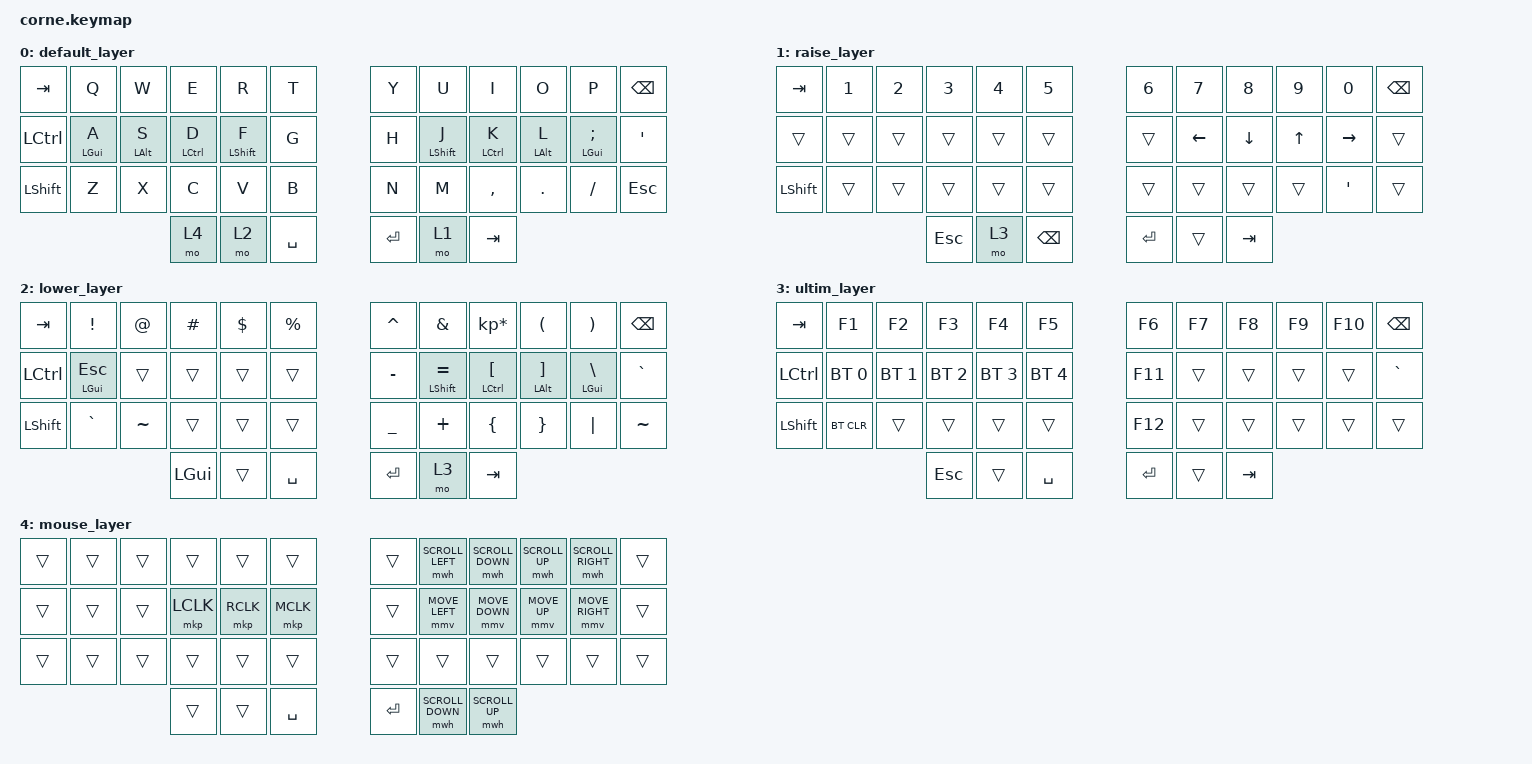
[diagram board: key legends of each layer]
/*
 * Copyright (c) 2020 The ZMK Contributors
 *
 * SPDX-License-Identifier: MIT
 */

#include <behaviors.dtsi>
#include <dt-bindings/zmk/keys.h>
#include <dt-bindings/zmk/bt.h>
#include <dt-bindings/zmk/mouse.h>

/ {
                behaviors {
                        bhm: balanced_homerow_mods {
                                compatible = "zmk,behavior-hold-tap";
                                label = "HOMEROW_MODS";
                                #binding-cells = <2>;
                                tapping-term-ms = <200>;    // <---[[moderate duration]]
                                quick-tap-ms = <0>;
                                flavor = "balanced";
                                bindings = <&kp>, <&kp>;
                        };
                };

        keymap {
                compatible = "zmk,keymap";

                default_layer {
// -----------------------------------------------------------------------------------------
// |  TAB |  Q  |  W  |  E  |  R  |  T  |   |  Y  |  U   |  I  |  O  |  P  | BKSP |
// | CTRL |  A  |  S  |  D  |  F  |  G  |   |  H  |  J   |  K  |  L  |  ;  |  '   |
// | SHFT |  Z  |  X  |  C  |  V  |  B  |   |  N  |  M   |  ,  |  .  |  /  | ESC  |
//                    | MOV | LWR | SPC |   | ENT | RSE  | TAB |
                        bindings = <
   &kp TAB   &kp Q       &kp W       &kp E        &kp R         &kp T  &kp Y &kp U          &kp I        &kp O       &kp P          &kp BSPC
   &kp LCTRL &bhm LGUI A &bhm LALT S &bhm LCTRL D &bhm LSHIFT F &kp G  &kp H &bhm LSHIFT J  &bhm LCTRL K &bhm LALT L &bhm LGUI SEMI &kp SQT
   &kp LSHFT &kp Z       &kp X       &kp C        &kp V         &kp B  &kp N &kp M          &kp COMMA    &kp DOT     &kp FSLH       &kp ESC
                  &mo 4 &mo 2 &kp SPACE   &kp RET &mo 1 &kp TAB
                        >;
                };
                raise_layer {
// -----------------------------------------------------------------------------------------
// |  TAB |  1  |  2  |  3  |  4  |  5  |   |  6  |  7  |  8  |  9  |  0  | BKSP |
// |      |     |     |     |     |     |   |     | LFT | DWN |  UP | RGT |      | 
// | SHFT |     |     |     |     |     |   |     |     |     |     |  '  |      |
//                    | ESC |     | BKSP|   | ENT | ULT | TAB |
                        bindings = <
   &kp TAB    &kp N1       &kp N2       &kp N3       &kp N4       &kp N5         &kp N6   &kp N7   &kp N8   &kp N9    &kp N0    &kp BSPC
   &trans     &trans       &trans       &trans       &trans       &trans         &trans   &kp LEFT &kp DOWN &kp UP    &kp RIGHT &trans
   &kp LSHFT  &trans       &trans       &trans       &trans       &trans         &trans   &trans   &trans &trans    &kp SQT &trans
                        &kp ESC     &mo 3        &kp BSPC       &kp RET  &trans   &kp TAB
                        >;
                };

                lower_layer {
// -----------------------------------------------------------------------------------------
// |  TAB |  !  |  @  |  #  |  $  |  %  |   |  ^  |  &  |  *  |  (  |  )  | BKSP |
// | CTRL | ESC |     |     |     |     |   |  -  |  =  |  [  |  ]  |  \  |  `   |
// | SHFT |  `  |  ~  |     |     |     |   |  _  |  +  |  {  |  }  | "|" |  ~   |
//                    | GUI | ULT | SPC |   | ENT |     | TAB |
                        bindings = <
   &kp  TAB  &kp EXCL      &kp AT    &kp HASH &kp DLLR &kp PRCNT   &kp CARET &kp AMPS          &kp KP_MULTIPLY  &kp LPAR        &kp RPAR      &kp BSPC
   &kp LCTRL &bhm LGUI ESC &trans    &trans   &trans   &trans      &kp MINUS &bhm LSHIFT EQUAL &bhm LCTRL LBKT  &bhm LALT RBKT &bhm LGUI BSLH &kp GRAVE
   &kp LSHFT &kp GRAVE     &kp TILDE &trans   &trans   &trans      &kp UNDER &kp PLUS          &kp LBRC         &kp RBRC       &kp PIPE       &kp TILDE
                    	&kp LGUI &trans   &kp SPACE    &kp RET   &mo 3    &kp TAB
                        >;
                };

                ultim_layer {
// -----------------------------------------------------------------------------------------
// |  TAB |  F1  |  F2  |  F3  |  F4  |  F5  |   |  F6  |  F7  |  F8  |  F9  |  F10  | BKSP |
// | CTRL |  BT1 |  BT2 |  BT3 |  BT4 |  BT5 |   |  F11 |      |      |      |       |      |
// | SHFT | BTCLR|      |      |      |      |   |  F12 |      |      |      |       |      |
//                      | ESC  |      |  SPC |   | ENT |     | TAB|
                        bindings = <
   &kp  TAB  &kp F1       &kp F2       &kp F3       &kp F4       &kp F5        &kp F6  &kp F7 &kp F8 &kp F9 &kp F10 &kp BSPC
   &kp LCTRL &bt BT_SEL 0 &bt BT_SEL 1 &bt BT_SEL 2 &bt BT_SEL 3 &bt BT_SEL 4  &kp F11 &trans &trans &trans &trans  &kp GRAVE
   &kp LSHFT &bt BT_CLR   &trans       &trans       &trans       &trans        &kp F12 &trans &trans &trans &trans  &trans
                    	&kp ESC &trans   &kp SPACE   &kp RET   &trans    &kp TAB
                        >;
                };

// Mouse Emulation - https://github.com/urob/zmk/blob/main-3.2/docs/docs/behaviors/mouse-emulation.md 
// Mouse Signals - https://github.com/urob/zmk/blob/main/app/include/dt-bindings/zmk/mouse.h 

                mouse_layer {
// -----------------------------------------------------------------------------------------
// |      |     |     |     |     |     |   |     | SCR_L | SCR_D | SCR_U | SCR_R |      |
// |      |     |     | M1  | M2  | M3  |   |     | LEFT  | DOWN  | UP    | RIGHT |      |
// |      |     |     |     |     |     |   |     |       |       |       |       |      |
//                    |     |     | SPC |   | ENT | SCR_D | SCR_U |
                        bindings = <
   &trans &trans &trans &trans    &trans    &trans    &trans &mwh SCROLL_LEFT &mwh SCROLL_DOWN &mwh SCROLL_UP &mwh SCROLL_RIGHT &trans 
   &trans &trans &trans &mkp LCLK &mkp RCLK &mkp MCLK &trans &mmv MOVE_LEFT   &mmv MOVE_DOWN   &mmv MOVE_UP   &mmv MOVE_RIGHT  &trans 
   &trans &trans &trans &trans    &trans    &trans    &trans &trans           &trans           &trans         &trans           &trans 
                        &trans &trans   &kp SPACE   &kp RET   &mwh SCROLL_DOWN &mwh SCROLL_UP
                        >;
                };
        };
};
